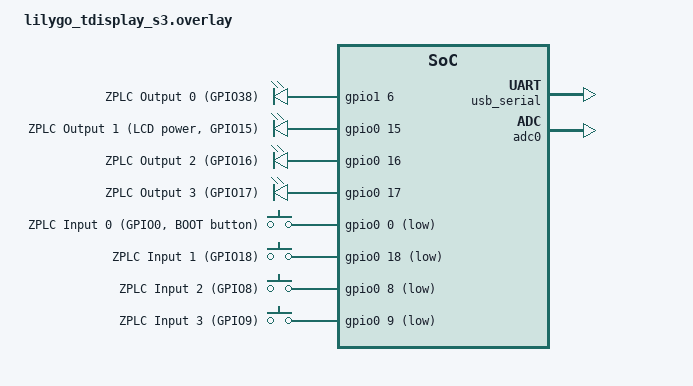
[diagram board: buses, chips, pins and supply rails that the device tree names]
/*
 * ZPLC profile - LilyGo T-Display S3 (ESP32-S3R8, 16 MB flash, 8 MB octal PSRAM)
 * SPDX-License-Identifier: MIT
 *
 * The settings of the T-Display S3, kept apart from the ESP32-S3-DevKitC-1
 * learner profile (IO-009). This file REPLACES the DevKitC-1 overlay
 * (esp32s3_devkitc_esp32s3_procpu.overlay) and keeps the pin map the ESP32-S3
 * profile had before the DevKitC-1 learner pins:
 *
 *   Outputs   GPIO38, GPIO15 (the LCD power rail of this board), GPIO16, GPIO17
 *   Inputs    GPIO0 (BOOT button), GPIO18, GPIO8, GPIO9  -> switch -> GND
 *   Analog    GPIO4 (ADC1 channel 3), 0 V to about 3.1 V
 *
 * Its I/O description is lilygo_tdisplay_s3.json beside this file. The Kconfig
 * of the target (esp32s3_devkitc_esp32s3_procpu.conf, octal PSRAM) still
 * applies. Build it with the overlay and the description in place of the
 * DevKitC-1 ones, from the root of the repository:
 *
 *   west build -b esp32s3_devkitc/esp32s3/procpu firmware/app --pristine -- \
 *     -DDTC_OVERLAY_FILE=boards/profiles/lilygo_tdisplay_s3.overlay \
 *     -DZPLC_IO_DESCRIPTION=$PWD/firmware/app/boards/profiles/lilygo_tdisplay_s3.json
 *
 * This profile is not in the board manifest, so CI and run.sh size do not
 * build it, and no release image is made for it.
 */

/* 16 MB flash; the base board DTS targets the 8 MB N8 module */
&flash0 {
    reg = <0x0 DT_SIZE_M(16)>;
};

/* ESP32-S3R8: 8 MB octal PSRAM, needed for CONFIG_ESP_SPIRAM */
&psram0 {
    size = <DT_SIZE_M(8)>;
};

/ {
    chosen {
        zephyr,console = &usb_serial;
        zephyr,shell-uart = &usb_serial;
    };

    leds {
        compatible = "gpio-leds";

        led0: led_0 {
            gpios = <&gpio1 6 GPIO_ACTIVE_HIGH>;  /* GPIO38 = gpio1 pin 6 */
            label = "ZPLC Output 0 (GPIO38)";
        };

        led1: led_1 {
            gpios = <&gpio0 15 GPIO_ACTIVE_HIGH>;
            label = "ZPLC Output 1 (LCD power, GPIO15)";
        };

        led2: led_2 {
            gpios = <&gpio0 16 GPIO_ACTIVE_HIGH>;
            label = "ZPLC Output 2 (GPIO16)";
        };

        led3: led_3 {
            gpios = <&gpio0 17 GPIO_ACTIVE_HIGH>;
            label = "ZPLC Output 3 (GPIO17)";
        };
    };

    zplc_inputs {
        compatible = "gpio-keys";

        /* The same pin as button0 of the base DTS, named here so that this file binds every channel */
        button_boot: button_boot {
            gpios = <&gpio0 0 (GPIO_PULL_UP | GPIO_ACTIVE_LOW)>;
            label = "ZPLC Input 0 (GPIO0, BOOT button)";
            zephyr,code = <0>;
        };

        button1: button_1 {
            gpios = <&gpio0 18 (GPIO_PULL_UP | GPIO_ACTIVE_LOW)>;
            label = "ZPLC Input 1 (GPIO18)";
            zephyr,code = <1>;
        };

        button2: button_2 {
            gpios = <&gpio0 8 (GPIO_PULL_UP | GPIO_ACTIVE_LOW)>;
            label = "ZPLC Input 2 (GPIO8)";
            zephyr,code = <2>;
        };

        button3: button_3 {
            gpios = <&gpio0 9 (GPIO_PULL_UP | GPIO_ACTIVE_LOW)>;
            label = "ZPLC Input 3 (GPIO9)";
            zephyr,code = <3>;
        };
    };

    aliases {
        led0 = &led0;
        led1 = &led1;
        led2 = &led2;
        led3 = &led3;
        sw0 = &button_boot;
        sw1 = &button1;
        sw2 = &button2;
        sw3 = &button3;
    };
};

&usb_serial {
    status = "okay";
};

/* ADC1 serves the analog input AI0 (GPIO4, channel 3) */
&adc0 {
    status = "okay";
};
